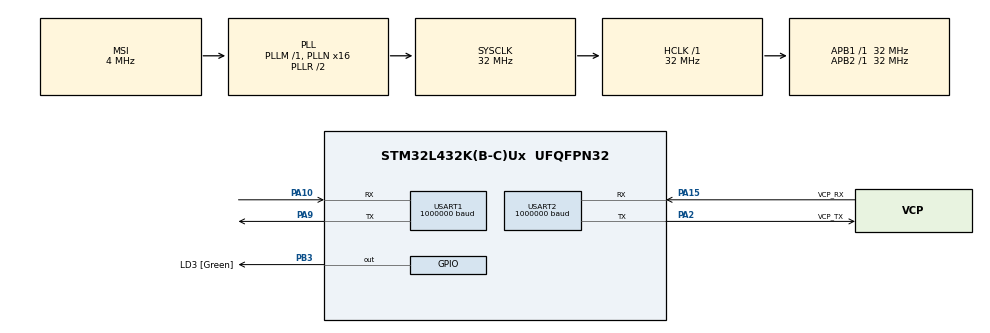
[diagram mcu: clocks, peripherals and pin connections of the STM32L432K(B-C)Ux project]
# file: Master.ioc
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Mcu.Family=STM32L4
Mcu.Name=STM32L432K(B-C)Ux
Mcu.Package=UFQFPN32
NVIC.PriorityGroup=NVIC_PRIORITYGROUP_4
PA0.GPIO_Label=MCO [High speed clock in]
PA0.Mode=HSE-External-Clock-Source-for-LittleOrca
PA0.Signal=RCC_CK_IN
PA10.Mode=Asynchronous
PA10.Signal=USART1_RX
PA13\ (JTMS-SWDIO).GPIO_Label=SWDIO
PA13\ (JTMS-SWDIO).Mode=Serial_Wire
PA13\ (JTMS-SWDIO).Signal=SYS_JTMS-SWDIO
PA14\ (JTCK-SWCLK).GPIO_Label=SWCLK
PA14\ (JTCK-SWCLK).Mode=Serial_Wire
PA14\ (JTCK-SWCLK).Signal=SYS_JTCK-SWCLK
PA15\ (JTDI).GPIO_Label=VCP_RX
PA15\ (JTDI).Mode=Asynchronous
PA15\ (JTDI).Signal=USART2_RX
PA2.GPIO_Label=VCP_TX
PA2.Mode=Asynchronous
PA2.Signal=USART2_TX
PA9.Mode=Asynchronous
PA9.Signal=USART1_TX
PB3\ (JTDO-TRACESWO).GPIO_Label=LD3 [Green]
PB3\ (JTDO-TRACESWO).Signal=GPIO_Output
PC14-OSC32_IN\ (PC14).Mode=LSE-External-Oscillator
PC14-OSC32_IN\ (PC14).Signal=RCC_OSC32_IN
PC15-OSC32_OUT\ (PC15).Mode=LSE-External-Oscillator
PC15-OSC32_OUT\ (PC15).Signal=RCC_OSC32_OUT
ProjectManager.HeapSize=0x200
ProjectManager.StackSize=0x400
ProjectManager.TargetToolchain=SW4STM32
RCC.AHBFreq_Value=32000000
RCC.APB1Freq_Value=32000000
RCC.APB1TimFreq_Value=32000000
RCC.APB2Freq_Value=32000000
RCC.APB2TimFreq_Value=32000000
RCC.CortexFreq_Value=32000000
RCC.HCLKFreq_Value=32000000
RCC.HSE_VALUE=8000000
RCC.HSI16_VALUE=16000000
RCC.HSI48_VALUE=48000000
RCC.HSI_VALUE=16000000
RCC.MSI_VALUE=4000000
RCC.PLLMUL=RCC_PLLMUL_4
RCC.PLLN=16
RCC.SYSCLKFreq_VALUE=32000000
RCC.SYSCLKSource=RCC_SYSCLKSOURCE_PLLCLK
RCC.VCOOutputFreq_Value=64000000
USART1.BaudRate=1000000
USART1.VirtualMode-Asynchronous=VM_ASYNC
USART2.BaudRate=1000000
USART2.VirtualMode-Asynchronous=VM_ASYNC
board=NUCLEO-L432KC

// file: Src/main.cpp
/**
  ******************************************************************************
  * @file           : main.c
  * @brief          : Main program body
  ******************************************************************************
  ** This notice applies to any and all portions of this file
  * that are not between comment pairs USER CODE BEGIN and
  * USER CODE END. Other portions of this file, whether
  * inserted by the user or by software development tools
  * are owned by their respective copyright owners.
  *
  * COPYRIGHT(c) 2018 STMicroelectronics
  *
  * Redistribution and use in source and binary forms, with or without modification,
  * are permitted provided that the following conditions are met:
  *   1. Redistributions of source code must retain the above copyright notice,
  *      this list of conditions and the following disclaimer.
  *   2. Redistributions in binary form must reproduce the above copyright notice,
  *      this list of conditions and the following disclaimer in the documentation
  *      and/or other materials provided with the distribution.
  *   3. Neither the name of STMicroelectronics nor the names of its contributors
  *      may be used to endorse or promote products derived from this software
  *      without specific prior written permission.
  *
  * THIS SOFTWARE IS PROVIDED BY THE COPYRIGHT HOLDERS AND CONTRIBUTORS "AS IS"
  * AND ANY EXPRESS OR IMPLIED WARRANTIES, INCLUDING, BUT NOT LIMITED TO, THE
  * IMPLIED WARRANTIES OF MERCHANTABILITY AND FITNESS FOR A PARTICULAR PURPOSE ARE
  * DISCLAIMED. IN NO EVENT SHALL THE COPYRIGHT HOLDER OR CONTRIBUTORS BE LIABLE
  * FOR ANY DIRECT, INDIRECT, INCIDENTAL, SPECIAL, EXEMPLARY, OR CONSEQUENTIAL
  * DAMAGES (INCLUDING, BUT NOT LIMITED TO, PROCUREMENT OF SUBSTITUTE GOODS OR
  * SERVICES; LOSS OF USE, DATA, OR PROFITS; OR BUSINESS INTERRUPTION) HOWEVER
  * CAUSED AND ON ANY THEORY OF LIABILITY, WHETHER IN CONTRACT, STRICT LIABILITY,
  * OR TORT (INCLUDING NEGLIGENCE OR OTHERWISE) ARISING IN ANY WAY OUT OF THE USE
  * OF THIS SOFTWARE, EVEN IF ADVISED OF THE POSSIBILITY OF SUCH DAMAGE.
  *
  ******************************************************************************
  */
#include "main.h"
#include "stm32l4xx_hal.h"
#include "usart.h"
#include "gpio.h"

/* USER CODE BEGIN Includes */
#include <math.h>
#include "AX12A.h"
#include "MX28.h"

#include "HalUartInterface.h"
#include "GpioInterfaceImpl.h"

using dynamixel::Motor;
using dynamixel::DaisyChain;
using dynamixel::DaisyChainParams;
using uart::HalUartInterface;
using gpio::GpioInterfaceImpl;

using dynamixel::Motor;
using dynamixel::AX12A;
using dynamixel::MX28;
/* USER CODE END Includes */

/* USER CODE BEGIN PV */
/* Private variables ---------------------------------------------------------*/

/* USER CODE END PV */

void SystemClock_Config(void);

/* USER CODE BEGIN PFP */
/* Private function prototypes -----------------------------------------------*/

/* USER CODE END PFP */

int main(void)
{

  /* MCU Configuration----------------------------------------------------------*/

  /* Reset of all peripherals, Initializes the Flash interface and the Systick. */
  HAL_Init();

  /* Configure the system clock */
  SystemClock_Config();

  /* Initialize all configured peripherals */
  MX_GPIO_Init();
  MX_USART1_UART_Init();
  MX_USART2_UART_Init();
  /* USER CODE BEGIN 2 */
  HalUartInterface uartif;
  GpioInterfaceImpl gpioif;

  UartDriver uart1Driver(&uartif, &huart1);

  DaisyChainParams uart1Params = {
      &uart1Driver,
      &gpioif,
      GPIOA,
      GPIO_PIN_8
  };

  DaisyChain uart1DaisyChain(uart1Params);

  AX12A motor(1, &uart1DaisyChain);
  AX12A motor2(2, &uart1DaisyChain);
  AX12A motor3(3, &uart1DaisyChain);

  volatile bool success;
  float curPos = NAN;
  char msg[16];
  int num_printed;
  /* USER CODE END 2 */

  /* Infinite loop */
  /* USER CODE BEGIN WHILE */
  uint32_t loops = 1;
  uint32_t numFailed = 0;

  float position1 = 0.0;
  float position2 = 150.0;
  float position3 = 180.0;
  float pos = position2;

  enum {POS1, POS2, POS3} state;
  while (1)
  {

  /* USER CODE END WHILE */
      success = motor.setGoalPosition(pos);
      motor2.setGoalPosition(200.0);
      motor3.setGoalPosition(10.0);

      motor2.getPosition(curPos);
      motor3.getPosition(curPos);

      success = motor.getPosition(curPos);
      if(!success){
          ++numFailed;
          curPos = NAN;
      }

      if(loops % 1000 == 0){
          float ratio = 100.0 * static_cast<float>(loops - numFailed) / static_cast<float>(loops);
          num_printed = sprintf(msg, "P:%0.4f|R:%0.2f\n", curPos, ratio);
          HAL_UART_Transmit(
              &huart2,
              (uint8_t*)msg,
              static_cast<uint16_t>(num_printed),
              10
          );

          switch(state){
              case POS1:
                  pos = position1;
                  state = POS2;
                  break;
              case POS2:
                  pos = position2;
                  state = POS3;
                  break;
              case POS3:
                  pos = position3;
                  state = POS1;
                  break;
          }
      }
      ++loops;
  }

}

void SystemClock_Config(void)
{

  RCC_OscInitTypeDef RCC_OscInitStruct;
  RCC_ClkInitTypeDef RCC_ClkInitStruct;
  RCC_PeriphCLKInitTypeDef PeriphClkInit;

    /**Configure LSE Drive Capability
    */
  HAL_PWR_EnableBkUpAccess();

  __HAL_RCC_LSEDRIVE_CONFIG(RCC_LSEDRIVE_LOW);

    /**Initializes the CPU, AHB and APB busses clocks
    */
  RCC_OscInitStruct.OscillatorType = RCC_OSCILLATORTYPE_LSE|RCC_OSCILLATORTYPE_MSI;
  RCC_OscInitStruct.LSEState = RCC_LSE_ON;
  RCC_OscInitStruct.MSIState = RCC_MSI_ON;
  RCC_OscInitStruct.MSICalibrationValue = 0;
  RCC_OscInitStruct.MSIClockRange = RCC_MSIRANGE_6;
  RCC_OscInitStruct.PLL.PLLState = RCC_PLL_ON;
  RCC_OscInitStruct.PLL.PLLSource = RCC_PLLSOURCE_MSI;
  RCC_OscInitStruct.PLL.PLLM = 1;
  RCC_OscInitStruct.PLL.PLLN = 16;
  RCC_OscInitStruct.PLL.PLLP = RCC_PLLP_DIV7;
  RCC_OscInitStruct.PLL.PLLQ = RCC_PLLQ_DIV2;
  RCC_OscInitStruct.PLL.PLLR = RCC_PLLR_DIV2;
  if (HAL_RCC_OscConfig(&RCC_OscInitStruct) != HAL_OK)
  {
    _Error_Handler(__FILE__, __LINE__);
  }

    /**Initializes the CPU, AHB and APB busses clocks
    */
  RCC_ClkInitStruct.ClockType = RCC_CLOCKTYPE_HCLK|RCC_CLOCKTYPE_SYSCLK
                              |RCC_CLOCKTYPE_PCLK1|RCC_CLOCKTYPE_PCLK2;
  RCC_ClkInitStruct.SYSCLKSource = RCC_SYSCLKSOURCE_PLLCLK;
  RCC_ClkInitStruct.AHBCLKDivider = RCC_SYSCLK_DIV1;
  RCC_ClkInitStruct.APB1CLKDivider = RCC_HCLK_DIV1;
  RCC_ClkInitStruct.APB2CLKDivider = RCC_HCLK_DIV1;

  if (HAL_RCC_ClockConfig(&RCC_ClkInitStruct, FLASH_LATENCY_1) != HAL_OK)
  {
    _Error_Handler(__FILE__, __LINE__);
  }

  PeriphClkInit.PeriphClockSelection = RCC_PERIPHCLK_USART1;
  PeriphClkInit.Usart1ClockSelection = RCC_USART1CLKSOURCE_PCLK2;
  if (HAL_RCCEx_PeriphCLKConfig(&PeriphClkInit) != HAL_OK)
  {
    _Error_Handler(__FILE__, __LINE__);
  }

    /**Configure the main internal regulator output voltage
    */
  if (HAL_PWREx_ControlVoltageScaling(PWR_REGULATOR_VOLTAGE_SCALE1) != HAL_OK)
  {
    _Error_Handler(__FILE__, __LINE__);
  }

    /**Configure the Systick interrupt time
    */
  HAL_SYSTICK_Config(HAL_RCC_GetHCLKFreq()/1000);

    /**Configure the Systick
    */
  HAL_SYSTICK_CLKSourceConfig(SYSTICK_CLKSOURCE_HCLK);

    /**Enable MSI Auto calibration
    */
  HAL_RCCEx_EnableMSIPLLMode();

  /* SysTick_IRQn interrupt configuration */
  HAL_NVIC_SetPriority(SysTick_IRQn, 0, 0);
}

void _Error_Handler(char *file, int line)
{
  while(1)
  {
  }
}

/************************ (C) COPYRIGHT STMicroelectronics *****END OF FILE****/
